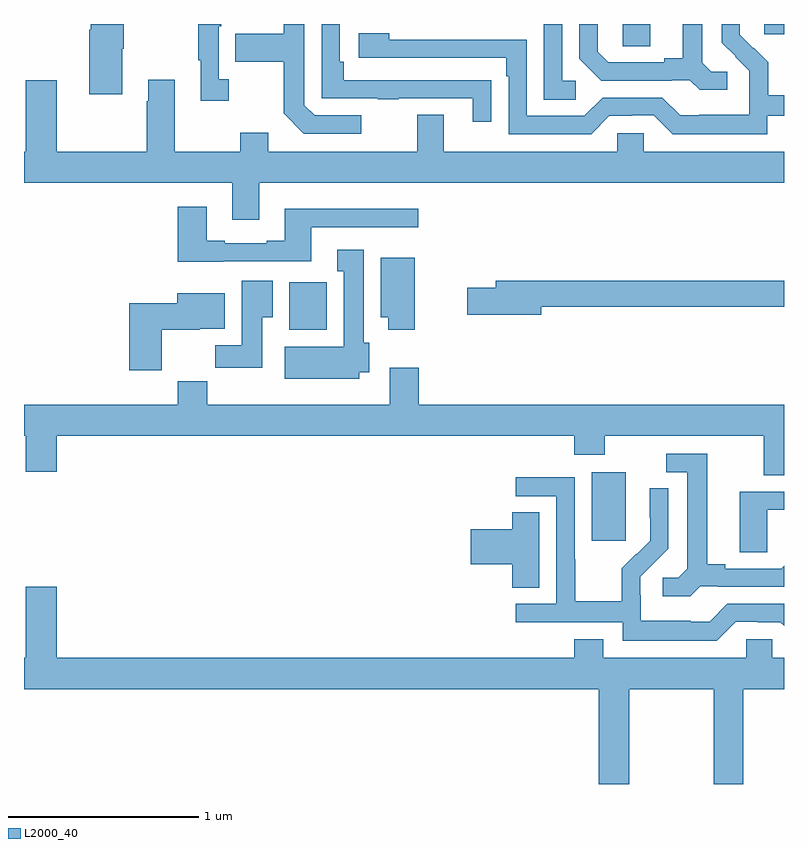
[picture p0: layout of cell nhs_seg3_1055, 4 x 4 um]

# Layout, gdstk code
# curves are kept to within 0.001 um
import gdstk
lib = gdstk.Library(unit=1e-6, precision=1e-09)
def R(c, l, rs):  # rectangles x0, y0, x1, y1
    for r in rs: c.add(gdstk.rectangle(r[:2], r[2:], *l))
def P(c, l, *ps):  # polygons
    for p in ps: c.add(gdstk.Polygon(p, *l))
L2000_40 = (2000, 40)

nhs_seg3_1055 = lib.new_cell('nhs_seg3_1055')
R(nhs_seg3_1055, L2000_40, [(167.987,717.681,168.166,718.042), (166.397,718.79,166.593,719.041), (168.15,720.283,168.295,720.4), (168.896,720.345,169,720.4)])
P(nhs_seg3_1055, L2000_40, [(168.912,719.916),(169,719.916),(169,720.025),(168.917,720.025),(168.917,720.199),(168.84,720.276),(168.837,720.273),(168.767,720.344),(168.767,720.4),(168.672,720.4),(168.672,720.302),(168.818,720.154),(168.818,720.057),(168.816,720.057),(168.816,719.923),(168.553,719.923),(168.553,719.919),(168.453,719.919),(168.36,720.012),(168.045,720.012),(167.949,719.916),(167.646,719.916),(167.646,720.318),(166.922,720.318),(166.922,720.352),(166.761,720.352),(166.761,720.222),(167.537,720.222),(167.537,720.125),(167.55,720.125),(167.55,719.82),(167.985,719.82),(168.081,719.916),(168.2,719.916),(168.2,719.919),(168.315,719.919),(168.415,719.819),(168.912,719.819)],
  [(168.7,720.15),(168.618,720.15),(168.571,720.197),(168.571,720.4),(168.467,720.4),(168.467,720.221),(168.371,720.221),(168.371,720.198),(168.076,720.198),(168.019,720.255),(168.019,720.4),(167.922,720.4),(167.922,720.218),(168.038,720.102),(168.41,720.102),(168.41,720.105),(168.504,720.105),(168.556,720.053),(168.7,720.053)],
  [(166.774,719.919),(166.53,719.919),(166.476,719.973),(166.476,720.4),(166.368,720.4),(166.368,720.349),(166.111,720.349),(166.111,720.202),(166.368,720.202),(166.368,719.929),(166.473,719.823),(166.774,719.823)],
  [(165.517,720.269),(165.525,720.269),(165.525,720.4),(165.35,720.4),(165.35,720.369),(165.344,720.369),(165.344,720.029),(165.517,720.029)],
  [(167.459,720.104),(167.357,720.104),(167.357,720.105),(166.682,720.105),(166.682,720.202),(166.662,720.202),(166.662,720.4),(166.566,720.4),(166.566,720.009),(166.861,720.009),(166.861,720.004),(166.973,720.004),(166.973,720.009),(167.363,720.009),(167.363,719.886),(167.459,719.886)],
  [(167.905,720.102),(167.832,720.102),(167.832,720.4),(167.736,720.4),(167.736,720.001),(167.905,720.001)],
  [(166.078,720.11),(166.026,720.11),(166.026,720.389),(166.039,720.389),(166.039,720.4),(165.918,720.4),(165.918,720.209),(165.929,720.209),(165.929,719.997),(166.078,719.997)],
  [(166.237,719.564),(169,719.564),(169,719.728),(168.261,719.728),(168.261,719.826),(168.123,719.826),(168.123,719.728),(167.209,719.728),(167.209,719.923),(167.069,719.923),(167.069,719.728),(166.285,719.728),(166.285,719.827),(166.138,719.827),(166.138,719.728),(165.793,719.728),(165.793,720.106),(165.653,720.106),(165.653,719.993),(165.646,719.993),(165.646,719.728),(165.172,719.728),(165.172,720.103),(165.008,720.103),(165.008,719.728),(165,719.728),(165,719.564),(166.097,719.564),(166.097,719.37),(166.237,719.37)],
  [(166.049,719.151),(166.513,719.151),(166.513,719.331),(167.074,719.331),(167.074,719.428),(166.373,719.428),(166.373,719.26),(166.277,719.26),(166.277,719.247),(166.057,719.247),(166.057,719.26),(165.961,719.26),(165.961,719.437),(165.809,719.437),(165.809,719.15),(166.049,719.15)],
  [(166.765,718.568),(166.816,718.568),(166.816,718.722),(166.789,718.722),(166.789,719.212),(166.649,719.212),(166.649,719.099),(166.682,719.099),(166.682,718.702),(166.373,718.702),(166.373,718.532),(166.765,718.532)],
  [(167.056,719.17),(166.877,719.17),(166.877,718.856),(166.916,718.856),(166.916,718.79),(167.056,718.79)],
  [(166.255,718.856),(166.309,718.856),(166.309,719.05),(166.145,719.05),(166.145,718.708),(166.006,718.708),(166.006,718.59),(166.255,718.59)],
  [(167.722,718.912),(169,718.912),(169,719.048),(167.483,719.048),(167.483,719.012),(167.334,719.012),(167.334,718.87),(167.722,718.87)],
  [(165.724,718.79),(165.924,718.79),(165.924,718.796),(166.057,718.796),(166.057,718.984),(165.806,718.984),(165.806,718.93),(165.554,718.93),(165.554,718.578),(165.724,718.578)],
  [(169,718.396),(167.078,718.396),(167.078,718.591),(166.925,718.591),(166.925,718.396),(165.965,718.396),(165.965,718.52),(165.809,718.52),(165.809,718.396),(165,718.396),(165,718.232),(165.008,718.232),(165.008,718.044),(165.172,718.044),(165.172,718.232),(167.897,718.232),(167.897,718.133),(168.057,718.133),(168.057,718.232),(168.893,718.232),(168.893,718.024),(169,718.024)],
  [(168.558,717.441),(168.652,717.441),(168.652,717.438),(169,717.438),(169,717.548),(168.986,717.534),(168.691,717.534),(168.691,717.557),(168.595,717.557),(168.595,718.137),(168.381,718.137),(168.381,718.041),(168.491,718.041),(168.491,717.533),(168.444,717.486),(168.363,717.486),(168.363,717.389),(168.506,717.389)],
  [(168.747,717.255),(168.863,717.255),(168.863,717.252),(168.981,717.252),(169,717.233),(169,717.348),(168.702,717.348),(168.609,717.255),(168.509,717.255),(168.509,717.259),(168.246,717.259),(168.246,717.393),(168.244,717.393),(168.244,717.49),(168.39,717.638),(168.39,717.956),(168.294,717.956),(168.294,717.802),(168.296,717.802),(168.296,717.68),(168.225,717.609),(168.222,717.612),(168.145,717.535),(168.145,717.361),(167.901,717.361),(167.901,717.584),(167.898,717.584),(167.898,718.014),(167.589,718.014),(167.589,717.915),(167.802,717.915),(167.802,717.348),(167.589,717.348),(167.589,717.252),(168.15,717.252),(168.15,717.155),(168.647,717.155)],
  [(168.912,717.843),(169,717.843),(169,717.939),(168.767,717.939),(168.767,717.619),(168.912,717.619)],
  [(167.713,717.83),(167.57,717.83),(167.57,717.74),(167.352,717.74),(167.352,717.557),(167.57,717.557),(167.57,717.433),(167.713,717.433)],
  [(168.186,716.9),(168.631,716.9),(168.631,716.4),(168.786,716.4),(168.786,716.9),(169,716.9),(169,717.064),(168.939,717.064),(168.939,717.162),(168.801,717.162),(168.801,717.064),(168.049,717.064),(168.049,717.163),(167.897,717.163),(167.897,717.064),(165.172,717.064),(165.172,717.439),(165.008,717.439),(165.008,717.064),(165,717.064),(165,716.9),(168.026,716.9),(168.026,716.4),(168.186,716.4)])

lib.write_gds('nhs_seg3_1055.gds')
